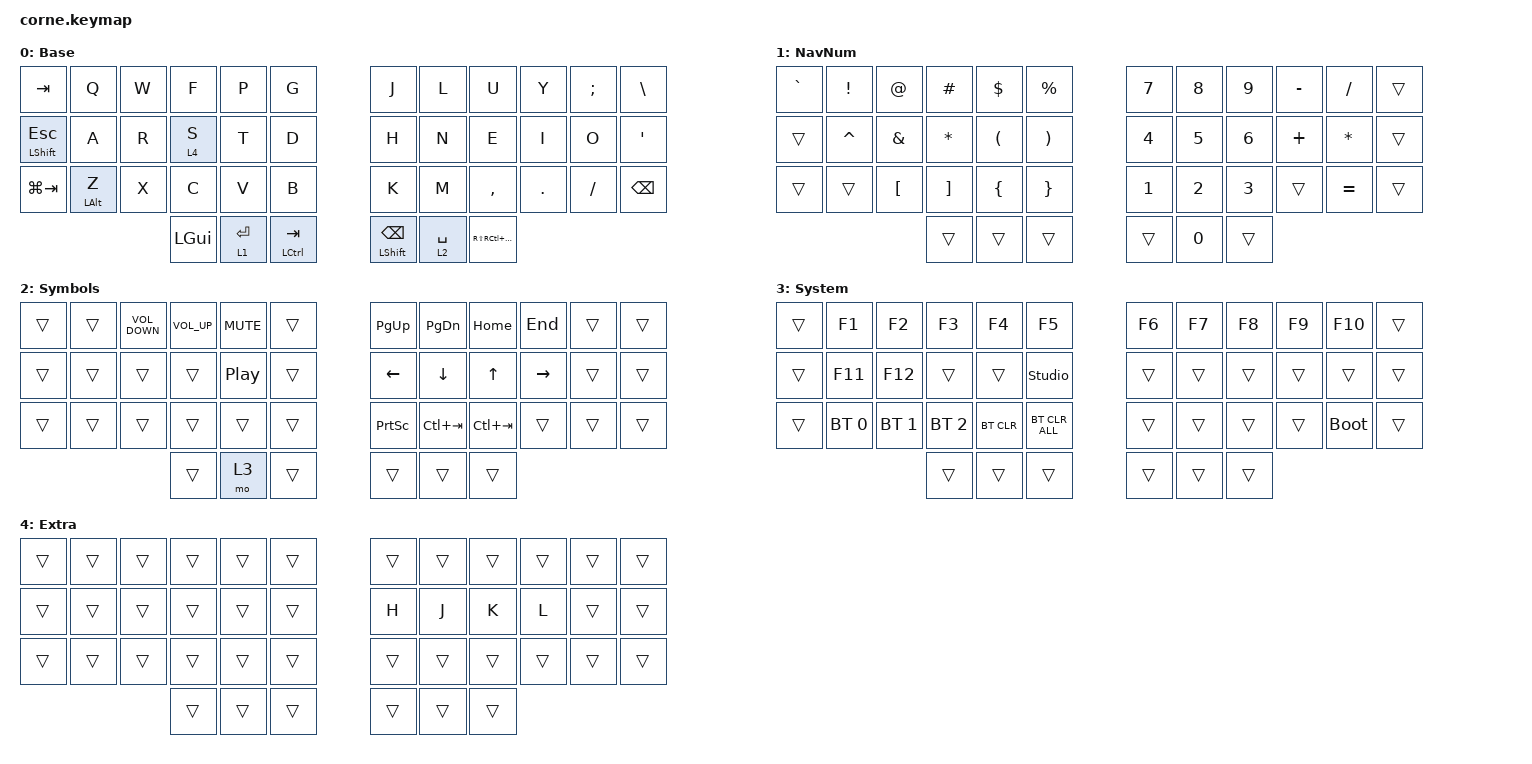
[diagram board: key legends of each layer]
#include <behaviors.dtsi>
#include <dt-bindings/zmk/bt.h>
#include <dt-bindings/zmk/keys.h>

#define DEF 0
#define NAV 1
#define SYM 2
#define ADJ 3
#define EXTRA 4

/ {
    behaviors {
        hm: homerow_mods {
            compatible = "zmk,behavior-hold-tap";
            #binding-cells = <2>;
            tapping-term-ms = <200>;
            flavor = "tap-preferred";
            bindings = <&kp>, <&kp>;

            quick-tap-ms = <180>;
            require-prior-idle-ms = <120>; /* tune to taste */
        };

        para: para {
            compatible = "zmk,behavior-tap-dance";
            #binding-cells = <0>;
            bindings = <&kp LEFT_PARENTHESIS>, <&kp RIGHT_PARENTHESIS>;
        };

        caps: caps {
            compatible = "zmk,behavior-caps-word";
            #binding-cells = <0>;
            continue-list = <MINUS BACKSPACE>;
        };

        paraless: paraless {
            compatible = "zmk,behavior-mod-morph";
            bindings = <&kp LEFT_PARENTHESIS>, <&kp LESS_THAN>;

            #binding-cells = <0>;
            mods = <(MOD_LSFT)>;
        };

        paragreat: paragreat {
            compatible = "zmk,behavior-mod-morph";
            bindings = <&kp RIGHT_PARENTHESIS>, <&kp GREATER_THAN>;

            #binding-cells = <0>;
            mods = <(MOD_LSFT)>;
        };

        hm_layer: hm_layer {
            compatible = "zmk,behavior-hold-tap";
            #binding-cells = <2>;
            tapping-term-ms = <200>;
            flavor = "tap-preferred";
            bindings = <&mo>, <&kp>;

            quick-tap-ms = <180>;
            require-prior-idle-ms = <120>;
            label = "HM_LAYER";
        };

        tapdance_backspace: tapdance_backspace {
            compatible = "zmk,behavior-tap-dance";
            label = "TAPDANCE_BACKSPACE";
            #binding-cells = <0>;
            bindings = <&mt LEFT_SHIFT BACKSPACE>, <&kp BACKSPACE>;

            tapping-term-ms = <150>;
        };
    };

    combos { compatible = "zmk,combos"; };

    //

    keymap {
        compatible = "zmk,keymap";

        DEF {
            display-name = "Base";

            // -----------------------------------------------------------------------------------------
            // |  Q  |  W  |  E  |  R  |  T  |   |  Y  |  U   |  I  |  O  |  P  |
            // |  A  |  S  |  D  |  F  |  G  |   |  H  |  J   |  K  |  L  |  ;  |
            // |  Z  |  X  |  C  |  V  |  B  |   |  N  |  M   |  ,  |  .  |  /  |
            // | GUI | CTRL | SHFT | LWR | SPC |   | ENT | RSE  | BKSP | ALT | ESC |

            bindings = <
&kp TAB           &kp Q           &kp W  &kp F          &kp P        &kp G            &kp J                     &kp L        &kp U                  &kp Y    &kp SEMICOLON  &kp BACKSLASH
&mt LSHFT ESCAPE  &kp A           &kp R  &hm_layer 4 S  &kp T        &kp D            &kp H                     &kp N        &kp E                  &kp I    &kp O          &kp SQT
&kp LG(TAB)       &mt LEFT_ALT Z  &kp X  &kp C          &kp V        &kp B            &kp K                     &kp M        &kp COMMA              &kp DOT  &kp FSLH       &kp BACKSPACE
                                         &kp LGUI       &lt 1 ENTER  &mt LCTRL TAB    &mt LEFT_SHIFT BACKSPACE  &lt 2 SPACE  &kp RS(RC(RIGHT_ALT))
            >;
        };

        NAV {
            display-name = "NavNum";

            // -----------------------------------------------------------------------------------------
            // |  TAB |  1  |  2  |  3  |  4  |  5  |   |  6  |  7  |  8  |  9  |  0  | BKSP |
            // | BTCLR| BT1 | BT2 | BT3 | BT4 | BT5 |   | LFT | DWN |  UP | RGT |     |      |
            // | SHFT |     |     |     |     |     |   |     |     |     |     |     |      |
            // | GUI | CTRL | SHFT | LWR | SPC |   | ENT | RSE  | BKSP | ALT | ESC |

            bindings = <
&kp GRAVE  &kp EXCLAMATION  &kp AT_SIGN       &kp POUND          &kp DOLLAR            &kp PERCENT              &kp N7        &kp N8        &kp N9        &kp MINUS  &kp SLASH     &trans
&trans     &kp CARET        &kp AMPERSAND     &kp ASTERISK       &kp LEFT_PARENTHESIS  &kp RIGHT_PARENTHESIS    &kp NUMBER_4  &kp N5        &kp NUMBER_6  &kp PLUS   &kp ASTERISK  &trans
&trans     &trans           &kp LEFT_BRACKET  &kp RIGHT_BRACKET  &kp LEFT_BRACE        &kp RIGHT_BRACE          &kp NUMBER_1  &kp NUMBER_2  &kp NUMBER_3  &trans     &kp EQUAL     &trans
                                              &trans             &trans                &trans                   &trans        &kp N0        &trans
            >;
        };

        SYM {
            display-name = "Symbols";

            // -----------------------------------------------------------------------------------------
            // |  TAB |  !  |  @  |  #  |  $  |  %  |   |  ^  |  &  |  *  |  (  |  )  | BKSP |
            // | CTRL |     |     |     |     |     |   |  -  |  =  |  [  |  ]  |  \  |  `   |
            // | SHFT |     |     |     |     |     |   |  _  |  +  |  {  |  }  | "|" |  ~   |
            //                    | GUI |     | SPC |   | ENT |     | ALT |

            bindings = <
&trans  &trans  &kp C_VOLUME_DOWN  &kp C_VOLUME_UP  &kp C_MUTE        &trans    &kp PAGE_UP      &kp PAGE_DOWN  &kp HOME      &kp END    &trans  &trans
&trans  &trans  &trans             &trans           &kp C_PLAY_PAUSE  &trans    &kp LEFT         &kp DOWN       &kp UP_ARROW  &kp RIGHT  &trans  &trans
&trans  &trans  &trans             &trans           &trans            &trans    &kp PRINTSCREEN  &kp LC(TAB)    &kp LC(TAB)   &trans     &trans  &trans
                                   &trans           &mo 3             &trans    &trans           &trans         &trans
            >;
        };

        ADJ {
            display-name = "System";
            bindings = <
&trans  &kp F1        &kp F2        &kp F3        &kp F4      &kp F5            &kp F6  &kp F7  &kp F8  &kp F9  &kp F10      &trans
&trans  &kp F11       &kp F12       &trans        &trans      &studio_unlock    &trans  &trans  &trans  &trans  &trans       &trans
&trans  &bt BT_SEL 0  &bt BT_SEL 1  &bt BT_SEL 2  &bt BT_CLR  &bt BT_CLR_ALL    &trans  &trans  &trans  &trans  &bootloader  &trans
                                    &trans        &trans      &trans            &trans  &trans  &trans
            >;
        };

        VIM {
            display-name = "Extra";
            bindings = <
&trans  &trans  &trans  &trans  &trans  &trans    &trans  &trans  &trans  &trans  &trans  &trans
&trans  &trans  &trans  &trans  &trans  &trans    &kp H   &kp J   &kp K   &kp L   &trans  &trans
&trans  &trans  &trans  &trans  &trans  &trans    &trans  &trans  &trans  &trans  &trans  &trans
                        &trans  &trans  &trans    &trans  &trans  &trans
            >;

            label = "VIM";
        };
    };
};
